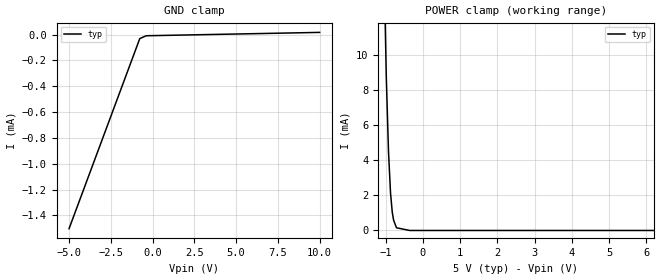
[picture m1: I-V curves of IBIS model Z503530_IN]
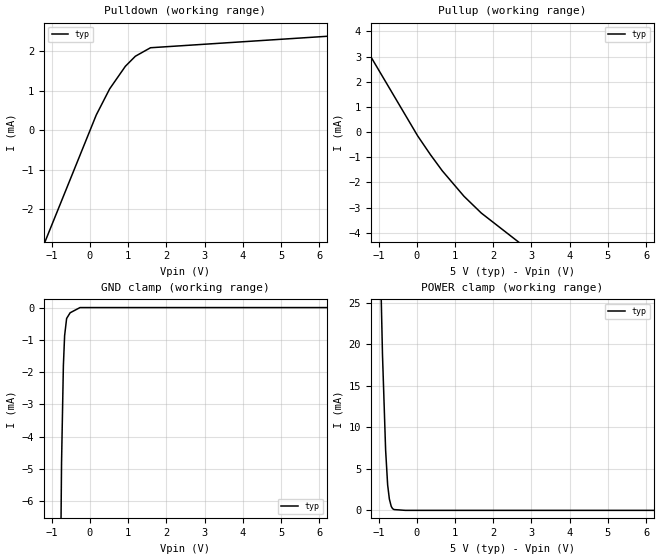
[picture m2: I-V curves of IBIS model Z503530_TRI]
| YOU ARE ONLY AUTHORIZED TO USE THIS SOFTWARE
| ACCORDING TO LICENSOR'S LICENSE RESTRICTIONS.
[IBIS Ver] 3.1
[File Name] mc14043bcl.ibs
[File Rev] 2.0
[Source] Measured and created by ICX Technology
[Date] Friday 7/14/00 9:07:52 AM
[Copyright]
| (C) COPYRIGHT 1993-2000
| MENTOR GRAPHICS CORPORATION
| ICX STANDARD LIBRARY, ICX PROJECT MODELING,
| ICX CUSTOM MODELING, ICX VENDOR MODEL
| ALL RIGHTS RESERVED.
| THE FOLLOWING ARE TRADEMARKS OR SERVICE MARKS OF
| MENTOR GRAPHICS CORPORATION:ICX (R), ICX STANDARD
| LIBRARY(R), ICX PROJECT MODELING(R), ICX CUSTOM
| MODELING(R), qualityIBIS(TM), MODELVIEWER(TM),
| AND MODELEDITOR(TM)
| ALL COPIES OF SOFTWARE, INCLUDING BUT NOT LIMITED TO
| ANY MODIFICATIONS, ENHANCEMENTS OR DERIVATIVE WORKS,
| MUST CONTAIN ALL MENTOR GRAPHICS CORPORATION'S
| NOTICES AND LEGENDS, INCLUDING THOSE EMBEDDED IN
| SOFTWARE AND THOSE AFFIXED TO SOFTWARE MEDIUM
| AND CONTAINER, AS RECEIVED FROM MENTOR GRAPHICS
| CORPORATION.
|  ZAP Model Builder 2.7
[Component] MC14043BCL
[Manufacturer] OnSemiconductor
[Package]
| variable   typ   min   max
R_pkg  .212ohms NA NA
L_pkg  4.758nH NA NA
C_pkg  1.944pF NA NA
[Pin] signal_name  model_name  R_pin  L_pin C_pin
1 Q3 Z503530_TRI .224 7.258n 2.683p
2 Q0 Z503530_TRI .216 5.258n 2.19p
3 R0 Z503530_IN .208 3.758n 1.697p
4 S0 Z503530_IN .2 2.758n 1.204p
5 E Z503530_IN .2 2.758n 1.204p
6 S1 Z503530_IN .208 3.758n 1.697p
7 R1A Z503530_IN .216 5.258n 2.19p
8 VSS GND .224 7.258n 2.683p
9 Q1 Z503530_TRI .224 7.258n 2.683p
10 Q2 Z503530_TRI .216 5.258n 2.19p
11 R2A Z503530_IN .208 3.758n 1.697p
12 S2 Z503530_IN .2 2.758n 1.204p
13 NC NC .2 2.758n 1.204p
14 S3 Z503530_IN .208 3.758n 1.697p
15 R3 Z503530_IN .216 5.258n 2.19p
16 VDD POWER .224 7.258n 2.683p
| Models and submodels in the file (2): Z503530_IN (Input), Z503530_TRI (3-state)
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| (C) COPYRIGHT 1993-2000
| MENTOR GRAPHICS CORPORATION
| ICX STANDARD LIBRARY, ICX PROJECT MODELING,
| ICX CUSTOM MODELING, ICX VENDOR MODEL
| ALL RIGHTS RESERVED.
| THE FOLLOWING ARE TRADEMARKS OR SERVICE MARKS OF
| MENTOR GRAPHICS CORPORATION:ICX (R), ICX STANDARD
| LIBRARY(R), ICX PROJECT MODELING(R), ICX CUSTOM
| MODELING(R), qualityIBIS(TM), MODELVIEWER(TM),
| AND MODELEDITOR(TM)
| ALL COPIES OF SOFTWARE, INCLUDING BUT NOT LIMITED TO
| ANY MODIFICATIONS, ENHANCEMENTS OR DERIVATIVE WORKS,
| MUST CONTAIN ALL MENTOR GRAPHICS CORPORATION'S
| NOTICES AND LEGENDS, INCLUDING THOSE EMBEDDED IN
| SOFTWARE AND THOSE AFFIXED TO SOFTWARE MEDIUM
| AND CONTAINER, AS RECEIVED FROM MENTOR GRAPHICS
| CORPORATION.
| Model Application Version 1.89 2/18/99.
[Model] Z503530_IN
Model_type Input
Vinl = 1.500V
Vinh = 3.500V
C_comp 4.000pF NA NA
| variable typ   min   max
[Voltage Range] 5.000V NA NA
[GND Clamp Reference] 0.000V NA NA
[POWER Clamp Reference] 5.000V NA NA
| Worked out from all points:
|   POWER clamp passes 1 mA (typ) near -0.82 V on its own axis
[GND Clamp]
-5V       -1.502mA   NA         NA
-767.6mV  -31.7uA    NA         NA
-383.8mV  -9.588uA   NA         NA
10V       16.39uA    NA         NA
[POWER Clamp]
-5V       730.9mA    NA         NA
-1.177V   34.7mA     NA         NA
-1.048V   15.94mA    NA         NA
-981mV    8.777mA    NA         NA
-921mV    4.496mA    NA         NA
-867mV    2.14mA     NA         NA
-820mV    1.036mA    NA         NA
-784mV    584.7uA    NA         NA
-707mV    154.4uA    NA         NA
-353.5mV  0A         NA         NA
10V       0A         NA         NA
| (C) COPYRIGHT 1993-2000
| MENTOR GRAPHICS CORPORATION
| ICX STANDARD LIBRARY, ICX PROJECT MODELING,
| ICX CUSTOM MODELING, ICX VENDOR MODEL
| ALL RIGHTS RESERVED.
| THE FOLLOWING ARE TRADEMARKS OR SERVICE MARKS OF
| MENTOR GRAPHICS CORPORATION:ICX (R), ICX STANDARD
| LIBRARY(R), ICX PROJECT MODELING(R), ICX CUSTOM
| MODELING(R), qualityIBIS(TM), MODELVIEWER(TM),
| AND MODELEDITOR(TM)
| ALL COPIES OF SOFTWARE, INCLUDING BUT NOT LIMITED TO
| ANY MODIFICATIONS, ENHANCEMENTS OR DERIVATIVE WORKS,
| MUST CONTAIN ALL MENTOR GRAPHICS CORPORATION'S
| NOTICES AND LEGENDS, INCLUDING THOSE EMBEDDED IN
| SOFTWARE AND THOSE AFFIXED TO SOFTWARE MEDIUM
| AND CONTAINER, AS RECEIVED FROM MENTOR GRAPHICS
| CORPORATION.
| Model Application Version 1.89 2/18/99.
[Model] Z503530_TRI
Model_type 3-state
Vref=0.000V
Rref=500.0Mohms
Cref=50.00pF
Vmeas=2.500V
C_comp 8.000pF NA NA
| variable typ   min   max
[Voltage Range] 5.000V NA NA
[POWER Clamp Reference] 5.000V NA NA
[Pullup Reference] 5.000V NA NA
[Pulldown Reference] 0.000V NA NA
[GND Clamp Reference] 0.000V NA NA
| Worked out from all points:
|   slope of the pulldown table from 0 to 0.75 V, typ, clamps not added: 543 ohm
|   slope of the pullup table from 0 to 0.75 V, typ, clamps not added: 471 ohm
|   GND clamp passes 1 mA (typ) near -0.67 V on its own axis
|   POWER clamp passes 1 mA (typ) near -0.70 V on its own axis
[GND Clamp]
-5V       -568.2mA   NA         NA
-741.9mV  -4.835mA   NA         NA
-693.7mV  -1.8mA     NA         NA
-661.3mV  -869.9uA   NA         NA
-608.8mV  -337.5uA   NA         NA
-516.9mV  -161.3uA   NA         NA
-258.5mV  0A         NA         NA
10V       0A         NA         NA
[Pulldown]
-5V       -11.97mA   NA         NA
166mV     382.8uA    NA         NA
516.8mV   1.044mA    NA         NA
927.7mV   1.615mA    NA         NA
1.189V    1.869mA    NA         NA
1.585V    2.084mA    NA         NA
10V       2.612mA    NA         NA
[Pullup]
-5V       12.73mA    NA         NA
24mV      -152.1uA   NA         NA
358mV     -896.8uA   NA         NA
668mV     -1.538mA   NA         NA
1.236V    -2.549mA   NA         NA
1.689V    -3.215mA   NA         NA
10V       -13.02mA   NA         NA
[POWER Clamp]
-5V       860mA      NA         NA
-897mV    18.77mA    NA         NA
-815mV    7.257mA    NA         NA
-762mV    3.063mA    NA         NA
-717mV    1.362mA    NA         NA
-668mV    477.3uA    NA         NA
-633mV    211uA      NA         NA
-596mV    95.82uA    NA         NA
-298mV    0A         NA         NA
10V       0A         NA         NA
[Ramp]
| variable typ min max
dV/dt_r 2.543/12.15n NA NA
dV/dt_f 2.543/16.74n NA NA
R_load = 2.500kOhms
